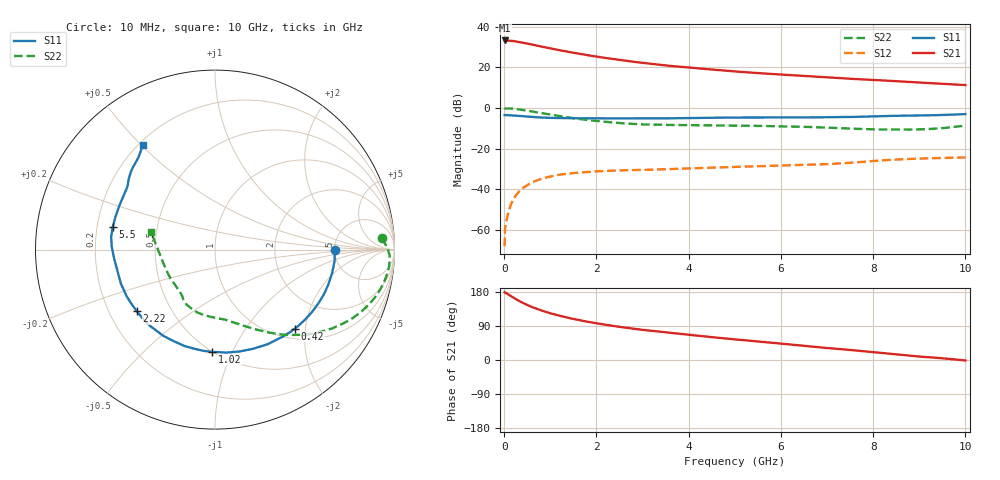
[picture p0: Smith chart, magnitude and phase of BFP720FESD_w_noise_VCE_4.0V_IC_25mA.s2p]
! Infineon Technologies  Discrete & RF Semiconductors
! BFP720FESD
! VCE =  4.0 V,  IC =  25 mA
! Common Emitter S-Parameters:  Jan 2016
# GHz  S  MA  R  50
!  f  S11  S21  S12  S22
! GHz  MAG  ANG  MAG  ANG  MAG  ANG  MAG  ANG
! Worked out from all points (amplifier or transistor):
!   233 points, 10 MHz to 10 GHz, reference 50 ohm
!   highest |S21| = 33.2 dB at 10 MHz (marker M1)
!   |S21| within 3 dB of that: start of sweep to 807.1 MHz
!   unconditionally stable (mu >= 1): start of sweep to 16.8 MHz; 5.403 GHz to end of sweep
!   at 200 MHz: K = 0.19, MSG = 38.9 dB, |S12| = -44.9 dB
!   at 1.74 GHz: K = 0.49, MSG = 28.9 dB, |S12| = -31.6 dB
!   at 10 GHz: K = 1.12, MAG = 15.7 dB, |S12| = -24.3 dB
!   lowest NFmin = 1.08 dB at 450 MHz
!   S11 on the Smith chart (normalised r, x): 10 MHz: 5.03, -0.06; 420 MHz: 1.21, -1.75; 1.02 GHz: 0.50, -0.84; 2.22 GHz: 0.32, -0.32; 5.5 GHz: 0.27, +0.10; 10 GHz: 0.22, +0.50
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0.01  0.6685 -0.3  45.75 179.1  0.0004 81.2  0.9335 3.9
0.02  0.6666 -2.1  45.55 177.6  0.0011 58.3  0.9628 0.2
0.1  0.6654 -11.4  45.24 172.4  0.0029 74.1  0.9753 -5.4
0.15  0.6608 -17.0  44.85 168.4  0.0043 76.3  0.9677 -8.5
0.26  0.6473 -28.8  43.16 160.1  0.0072 72.4  0.9406 -14.8
0.32  0.639 -35.0  42.14 156.1  0.0087 70.5  0.9217 -17.9
0.42  0.6255 -44.7  40.08 149.9  0.011 67.3  0.8874 -22.7
0.54  0.6083 -55.6  37.55 143.1  0.0135 63.2  0.8437 -27.8
0.68  0.5933 -67.3  34.78 136.3  0.0161 59.0  0.7938 -33.1
0.82  0.5818 -77.9  32.17 130.3  0.0183 55.3  0.7464 -37.8
1.02  0.57 -91.5  28.93 122.8  0.0208 50.6  0.6832 -43.9
1.32  0.5624 -108.5  24.85 113.2  0.0238 44.9  0.6025 -51.8
1.68  0.5579 -124.4  21.03 103.9  0.0261 40.0  0.5274 -59.5
1.9  0.5582 -132.2  19.12 99.0  0.0272 37.9  0.4927 -63.8
2.22  0.555 -141.7  16.85 92.6  0.0284 35.6  0.4536 -69.3
2.78  0.5558 -155.8  13.81 82.9  0.0298 33.0  0.4063 -78.7
3.4  0.5563 -166.6  11.45 74.4  0.031 33.1  0.3859 -85.7
5.1  0.5828 171.9  7.77 53.4  0.0358 34.5  0.3668 -102.5
5.5  0.5837 167.7  7.198 48.8  0.037 34.8  0.3633 -106.1
6.8  0.589 151.8  5.847 34.0  0.041 36.5  0.3356 -120.3
8.4  0.6394 137.0  4.623 16.1  0.0533 37.6  0.2949 -147.1
10  0.7076 124.7  3.656 -1.3  0.0607 29.5  0.3691 164.8
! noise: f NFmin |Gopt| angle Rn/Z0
0.45  1.08  0.05  -156  0.11
2.4  1.1  0.07  -150  0.13
5.5  1.29  0.18  170  0.11
10  1.76  0.32  -118  0.19
